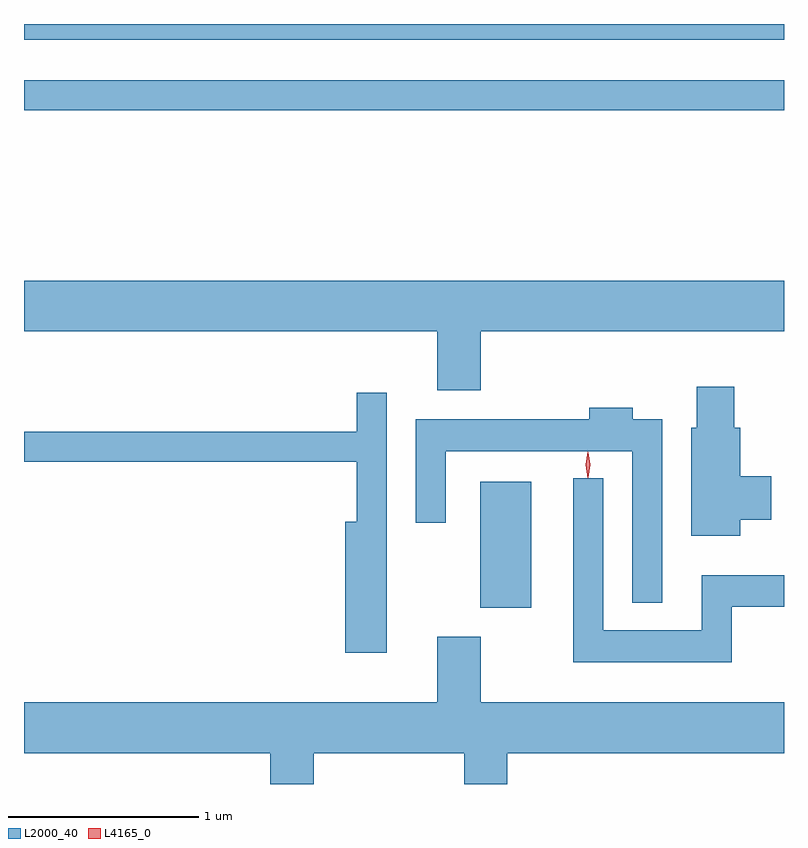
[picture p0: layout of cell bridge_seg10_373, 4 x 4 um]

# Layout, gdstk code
import gdstk
lib = gdstk.Library(unit=1e-6, precision=1e-09)
def R(c, l, rs):  # rectangles x0, y0, x1, y1
    for r in rs: c.add(gdstk.rectangle(r[:2], r[2:], *l))
def P(c, l, *ps):  # polygons
    for p in ps: c.add(gdstk.Polygon(p, *l))
L2000_40 = (2000, 40)
L4165_0 = (4165, 0)

bridge_seg10_373 = lib.new_cell('bridge_seg10_373')
R(bridge_seg10_373, L2000_40, [(1421.096,2119.121,1421.364,2119.784), (1418.695,2121.741,1422.695,2121.899), (1418.695,2122.111,1422.695,2122.194)])
P(bridge_seg10_373, L2000_40, [(1421.099,2120.576),(1422.695,2120.576),(1422.695,2120.844),(1418.695,2120.844),(1418.695,2120.576),(1420.871,2120.576),(1420.871,2120.266),(1421.099,2120.266)],
  [(1422.464,2119.586),(1422.629,2119.586),(1422.629,2119.814),(1422.464,2119.814),(1422.464,2120.069),(1422.434,2120.069),(1422.434,2120.284),(1422.236,2120.284),(1422.236,2120.069),(1422.206,2120.069),(1422.206,2119.501),(1422.464,2119.501)],
  [(1420.604,2120.253),(1420.446,2120.253),(1420.446,2120.049),(1418.695,2120.049),(1418.695,2119.891),(1420.446,2119.891),(1420.446,2119.574),(1420.386,2119.574),(1420.386,2118.886),(1420.604,2118.886)],
  [(1422.054,2120.114),(1421.899,2120.114),(1421.899,2120.174),(1421.671,2120.174),(1421.671,2120.114),(1420.756,2120.114),(1420.756,2119.568),(1420.914,2119.568),(1420.914,2119.946),(1421.896,2119.946),(1421.896,2119.148),(1422.054,2119.148)],
  [(1422.419,2119.126),(1422.695,2119.126),(1422.695,2119.294),(1422.261,2119.294),(1422.261,2119.004),(1421.744,2119.004),(1421.744,2119.803),(1421.586,2119.803),(1421.586,2118.836),(1422.419,2118.836)],
  [(1420.219,2118.356),(1421.011,2118.356),(1421.011,2118.194),(1421.239,2118.194),(1421.239,2118.356),(1422.695,2118.356),(1422.695,2118.624),(1421.099,2118.624),(1421.099,2118.969),(1420.871,2118.969),(1420.871,2118.624),(1418.695,2118.624),(1418.695,2118.356),(1419.991,2118.356),(1419.991,2118.194),(1420.219,2118.194)])
P(bridge_seg10_373, L4165_0, [(1421.662,2119.803),(1421.662,2119.804),(1421.652,2119.873),(1421.662,2119.942),(1421.662,2119.943),(1421.663,2119.942),(1421.672,2119.873),(1421.663,2119.804)],
  [(1421.664,2119.807),(1421.655,2119.874),(1421.665,2119.94),(1421.665,2119.94),(1421.666,2119.94),(1421.675,2119.874),(1421.666,2119.807),(1421.665,2119.807)])

lib.write_gds('bridge_seg10_373.gds')
